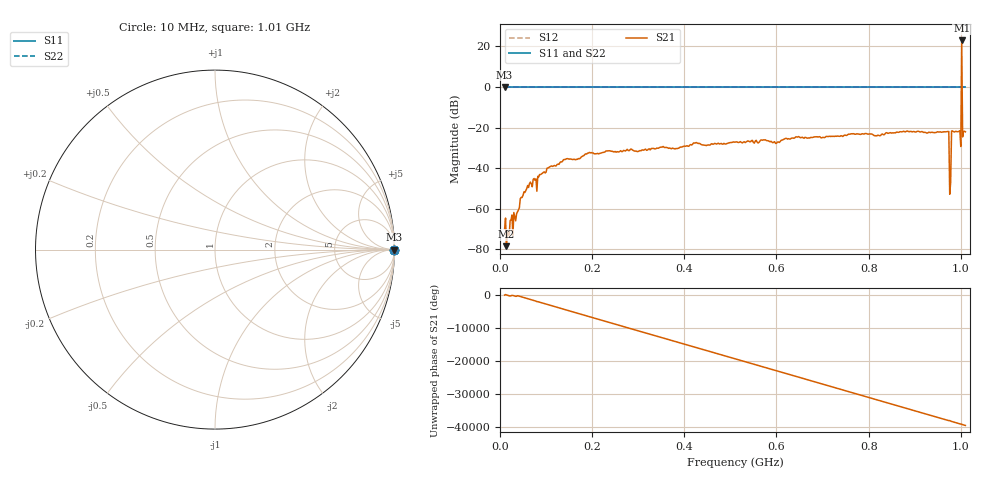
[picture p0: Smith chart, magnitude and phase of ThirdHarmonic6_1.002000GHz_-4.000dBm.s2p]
! 8/16/2025 8:06:14 AM
! C:\ANRITSUVNA\TEMP\TEMP.S2P
! CHANNEL.1
! TR.MEASUREMENT
! RAW.DATA
! RF.CORRECTION.OFF
! AVERAGING.OFF
! IF.BANDWIDTH: 5KHZ
! SWEEPTYPE:  FREQ.SWEEP(Linear)
! Reference Plane Port Info
! PORT:  PORT1  PORT2
! DISTANCE:  0  m  0  m
! TIME:  0  s  0  s
! PHASE.OFFSET:  0  deg.  0  deg.
! LOSS:  0  dB  0  dB
! REF.LOSS:  0  dB  0  dB
! REF.FREQ:  0  Hz  0  Hz
! Power Info
! POWER:  -20  dBm  -20  dBm
! EFF.POWER:  -20  dBm  -20  dBm
! SOURCE.ATTEN:  0  dB  0  dB
! TEST.ATTEN:  0  dB  0  dB
# GHZ S RI R 50.0
! FREQ.GHZ  S11RE  S11IM  S21RE  S21IM  S12RE  S12IM  S22RE  S22IM
!; PortSelection: Port_12
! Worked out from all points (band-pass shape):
!   501 points, 10 MHz to 1.01 GHz, reference 50 ohm
!   highest |S21| = 22.94 dB at 1.002 GHz (marker M1); lowest = -78.5 dB at 14 MHz (marker M2)
!   |S21| within 3 dB of the highest: 1.001885 GHz to 1.002126 GHz (240.9 kHz wide, 0.024 % of centre)
!   lowest |S11| = 0.0 dB at 10 MHz (marker M3)
!   |S11| at or under -10 dB: nowhere
!   |S22| runs from 0.0 to 0.0 dB; largest |S21 - S12| = 15
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0.01  1 0  0.000183 -0.00026  1 0  1 0
0.014  1 0  0.000107 -5.33e-05  1 0  1 0
0.018  1 0  -0.000219 -3.68e-05  1 0  1 0
0.038  1 0  -0.00028 0.000791  1 0  1 0
0.048  1 0  0.000368 0.00186  1 0  1 0
0.064  1 0  -0.00308 0.00282  1 0  1 0
0.106  1 0  -0.00711 -0.00757  1 0  1 0
0.178  1 0  -0.0187 -0.00499  1 0  1 0
0.344  1 0  0.0307 -0.00373  1 0  1 0
0.51  1 0  -0.0425 0.0104  1 0  1 0
0.678  1 0  -0.0121 -0.0556  1 0  1 0
0.844  1 0  0.0363 0.0635  1 0  1 0
0.97  1 0  0.0712 0.0343  1 0  1 0
0.974  1 0  -0.0562 -0.0566  1 0  1 0
0.98  1 0  0.0786 -0.0243  1 0  1 0
0.984  1 0  -0.0793 0.000291  1 0  1 0
0.996  1 0  0.04 0.0702  1 0  1 0
0.998  1 0  0.0784 -0.0291  1 0  1 0
1.002  1 0  -7.826 -11.64  1 0  1 0
1.006  1 0  0.0779 0.017  1 0  1 0
1.008  1 0  0.0327 -0.0744  1 0  1 0
1.01  1 0  -0.0676 -0.0398  1 0  1 0
